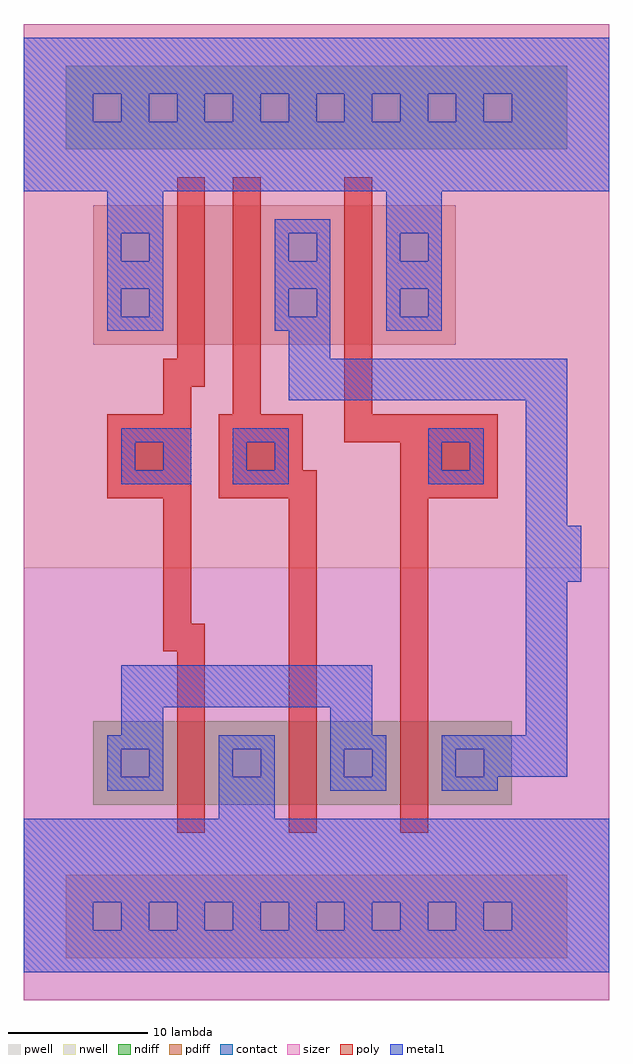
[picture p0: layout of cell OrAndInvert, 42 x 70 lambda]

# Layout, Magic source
magic
tech LibreSilicon-test000-concept-mg-70-7
<< sizer >>
rect 0 0 42 70
<< metal1 >>
rect 0 65 42 69
rect 0 63 5 65
rect 7 63 9 65
rect 11 63 13 65
rect 15 63 17 65
rect 19 63 21 65
rect 23 63 25 65
rect 27 63 29 65
rect 31 63 33 65
rect 35 63 42 65
rect 0 58 42 63
rect 6 55 10 58
rect 26 55 30 58
rect 18 55 22 56
rect 6 53 7 55
rect 9 53 10 55
rect 18 53 19 55
rect 21 53 22 55
rect 26 53 27 55
rect 29 53 30 55
rect 6 51 10 53
rect 18 51 22 53
rect 26 51 30 53
rect 6 49 7 51
rect 9 49 10 51
rect 18 49 19 51
rect 21 49 22 51
rect 26 49 27 51
rect 29 49 30 51
rect 6 48 10 49
rect 18 48 22 49
rect 26 48 30 49
rect 19 46 22 48
rect 19 43 39 46
rect 36 34 39 43
rect 7 40 12 41
rect 15 40 19 41
rect 29 40 33 41
rect 7 38 8 40
rect 10 38 12 40
rect 15 38 16 40
rect 18 38 19 40
rect 29 38 30 40
rect 32 38 33 40
rect 7 37 12 38
rect 15 37 19 38
rect 29 37 33 38
rect 36 30 40 34
rect 36 19 39 30
rect 7 21 25 24
rect 7 19 10 21
rect 22 19 25 21
rect 6 18 10 19
rect 14 18 18 19
rect 22 18 26 19
rect 30 18 39 19
rect 6 16 7 18
rect 9 16 10 18
rect 14 16 15 18
rect 17 16 18 18
rect 22 16 23 18
rect 25 16 26 18
rect 30 16 31 18
rect 33 16 39 18
rect 6 15 10 16
rect 14 13 18 16
rect 22 15 26 16
rect 30 15 34 16
rect 0 7 42 13
rect 0 5 5 7
rect 7 5 9 7
rect 11 5 13 7
rect 15 5 17 7
rect 19 5 21 7
rect 23 5 25 7
rect 27 5 29 7
rect 31 5 33 7
rect 35 5 42 7
rect 0 2 42 5
<< contact >>
rect 5 63 7 65
rect 9 63 11 65
rect 13 63 15 65
rect 17 63 19 65
rect 21 63 23 65
rect 25 63 27 65
rect 29 63 31 65
rect 33 63 35 65
rect 7 53 9 55
rect 19 53 21 55
rect 27 53 29 55
rect 7 49 9 51
rect 19 49 21 51
rect 27 49 29 51
rect 8 38 10 40
rect 16 38 18 40
rect 30 38 32 40
rect 7 16 9 18
rect 15 16 17 18
rect 23 16 25 18
rect 31 16 33 18
rect 5 5 7 7
rect 9 5 11 7
rect 13 5 15 7
rect 17 5 19 7
rect 21 5 23 7
rect 25 5 27 7
rect 29 5 31 7
rect 33 5 35 7
<< poly >>
rect 11 46 13 59
rect 15 42 17 59
rect 23 42 25 59
rect 10 44 13 46
rect 10 42 12 44
rect 6 36 12 42
rect 14 38 20 42
rect 23 40 34 42
rect 27 36 34 40
rect 14 36 21 38
rect 10 27 12 36
rect 19 12 21 36
rect 27 12 29 36
rect 10 25 13 27
rect 11 12 13 25
<< ndiff >>
rect 3 61 39 67
rect 5 14 35 20
<< pdiff >>
rect 5 47 31 57
rect 3 3 39 9
<< nwell >>
rect 0 31 42 70
<< pwell >>
rect 0 0 42 31
<< end >>
